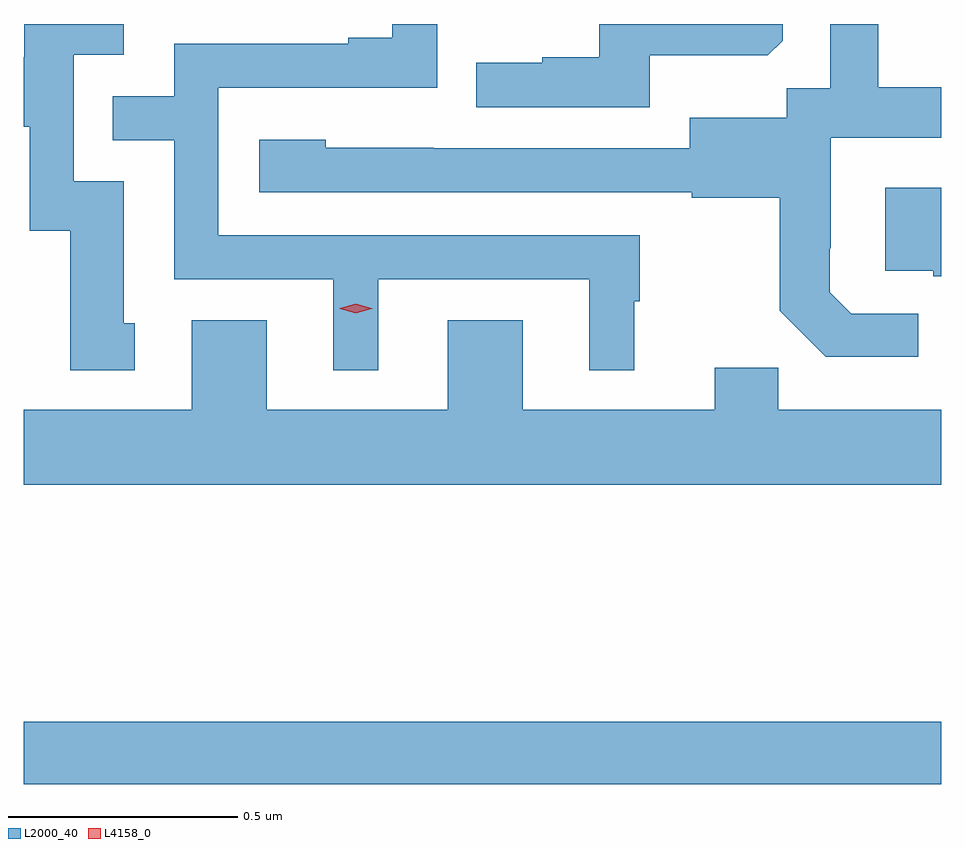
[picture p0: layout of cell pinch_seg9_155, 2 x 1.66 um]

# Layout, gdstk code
import gdstk
lib = gdstk.Library(unit=1e-6, precision=1e-09)
def R(c, l, rs):  # rectangles x0, y0, x1, y1
    for r in rs: c.add(gdstk.rectangle(r[:2], r[2:], *l))
def P(c, l, *ps):  # polygons
    for p in ps: c.add(gdstk.Polygon(p, *l))
L2000_40 = (2000, 40)
L4158_0 = (4158, 0)

pinch_seg9_155 = lib.new_cell('pinch_seg9_155')
R(pinch_seg9_155, L2000_40, [(749.741,1241.056,751.741,1241.192)])
P(pinch_seg9_155, L2000_40, [(750.514,1242.156),(750.974,1242.156),(750.974,1241.957),(751.072,1241.957),(751.072,1242.108),(751.084,1242.108),(751.084,1242.252),(750.165,1242.252),(750.165,1242.573),(750.642,1242.573),(750.642,1242.712),(750.544,1242.712),(750.544,1242.682),(750.449,1242.682),(750.449,1242.669),(750.069,1242.669),(750.069,1242.555),(749.935,1242.555),(749.935,1242.459),(750.069,1242.459),(750.069,1242.156),(750.416,1242.156),(750.416,1241.957),(750.514,1241.957)],
  [(751.69,1242.081),(751.545,1242.081),(751.498,1242.128),(751.498,1242.223),(751.5,1242.223),(751.5,1242.464),(751.741,1242.464),(751.741,1242.574),(751.603,1242.574),(751.603,1242.712),(751.499,1242.712),(751.499,1242.572),(751.404,1242.572),(751.404,1242.508),(751.193,1242.508),(751.193,1242.441),(750.635,1242.441),(750.635,1242.442),(750.399,1242.442),(750.399,1242.46),(750.255,1242.46),(750.255,1242.345),(751.197,1242.345),(751.197,1242.333),(751.389,1242.333),(751.389,1242.087),(751.489,1241.987),(751.69,1241.987)],
  [(751.105,1242.644),(751.363,1242.644),(751.395,1242.675),(751.395,1242.712),(750.995,1242.712),(750.995,1242.64),(750.871,1242.64),(750.871,1242.628),(750.727,1242.628),(750.727,1242.531),(751.105,1242.531)],
  [(749.983,1242.06),(749.959,1242.06),(749.959,1242.369),(749.85,1242.369),(749.85,1242.645),(749.959,1242.645),(749.959,1242.712),(749.742,1242.712),(749.742,1242.64),(749.741,1242.64),(749.741,1242.488),(749.754,1242.488),(749.754,1242.261),(749.843,1242.261),(749.843,1241.958),(749.983,1241.958)],
  [(751.741,1242.355),(751.619,1242.355),(751.619,1242.174),(751.723,1242.174),(751.723,1242.162),(751.741,1242.162)],
  [(751.741,1241.872),(751.385,1241.872),(751.385,1241.963),(751.247,1241.963),(751.247,1241.872),(750.829,1241.872),(750.829,1242.067),(750.665,1242.067),(750.665,1241.872),(750.271,1241.872),(750.271,1242.067),(750.107,1242.067),(750.107,1241.872),(749.741,1241.872),(749.741,1241.708),(751.741,1241.708)])
P(pinch_seg9_155, L4158_0, [(750.465,1242.082),(750.43,1242.092),(750.43,1242.092),(750.43,1242.093),(750.465,1242.102),(750.5,1242.093),(750.501,1242.092),(750.5,1242.092)])

lib.write_gds('pinch_seg9_155.gds')
